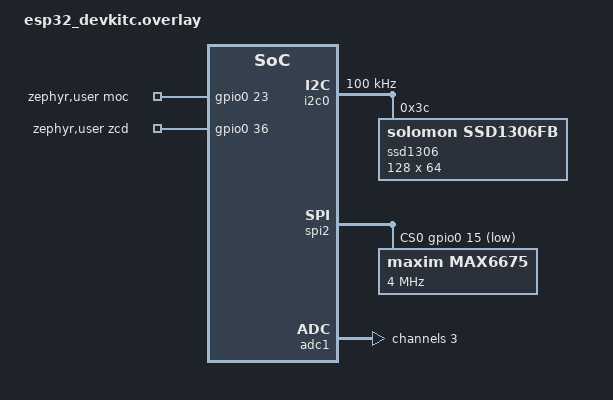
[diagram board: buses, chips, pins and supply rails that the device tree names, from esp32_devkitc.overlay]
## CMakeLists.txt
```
cmake_minimum_required(VERSION 3.20.0)

set(DTC_OVERLAY_FILE "${CMAKE_CURRENT_SOURCE_DIR}/esp32_devkitc.overlay")

find_package(Zephyr REQUIRED)
project(my_zephyr_app)

target_sources(app PRIVATE src/main.cpp)

zephyr_library_include_directories(${ZEPHYR_BASE}/subsys/display)
```

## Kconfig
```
source "Kconfig.zephyr"

menu "Thermal Reactor Configuration"

config THERMAL_ADC_CHANNEL
    int "ADC Channel for NTC"
    default 3
    help
      The ADC1 channel connected to the NTC thermistor.

config THERMAL_NTC_RESISTOR_FIXED
    string "Fixed resistor value in Ohms"
    default "9990.0"
    help
      The value of the fixed resistor in the voltage divider network.

config THERMAL_NTC_COEFF_A
    string "Steinhart-Hart Coefficient A"
    default "0.001129148"

config THERMAL_NTC_COEFF_B
    string "Steinhart-Hart Coefficient B"
    default "0.000234125"

config THERMAL_NTC_COEFF_C
    string "Steinhart-Hart Coefficient C"
    default "0.0000000876741"

endmenu
```

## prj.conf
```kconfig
CONFIG_ESP32_USE_UNSUPPORTED_REVISION=y

CONFIG_SYS_CLOCK_HW_CYCLES_PER_SEC=80000000

CONFIG_LOG=y
CONFIG_SERIAL=y
CONFIG_CONSOLE=y
CONFIG_UART_CONSOLE=y

CONFIG_ADC=y
CONFIG_ADC_ESP32=y
CONFIG_NEWLIB_LIBC=y
CONFIG_FPU=y

# Driver Ecran & Interfață text
CONFIG_I2C=y
CONFIG_DISPLAY=y
CONFIG_SSD1306=y
CONFIG_CHARACTER_FRAMEBUFFER=y
CONFIG_CFB_LOG_LEVEL_ERR=y

# Driver Senzor Termocuplă MAX6675
CONFIG_SPI=y
CONFIG_SENSOR=y
CONFIG_MAX6675=y

# Păstrăm numărul întreg așa cum este
CONFIG_THERMAL_ADC_CHANNEL=3

# Adăugăm ghilimele pentru valorile string interpretate ca float
CONFIG_THERMAL_NTC_RESISTOR_FIXED="9990.0"
CONFIG_THERMAL_NTC_COEFF_A="0.001129148"
CONFIG_THERMAL_NTC_COEFF_B="0.000234125"
CONFIG_THERMAL_NTC_COEFF_C="0.0000000876741"
```

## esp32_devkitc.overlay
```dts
#include <zephyr/dt-bindings/pinctrl/esp32-pinctrl.h>

/ {
    zephyr,user {
        moc-gpios = <&gpio0 23 GPIO_ACTIVE_HIGH>;
        zcd-gpios = <&gpio0 36 GPIO_ACTIVE_HIGH>;
    };
};

&pinctrl {
    /* Configurare pini pentru I2C0 */
    i2c0_default: i2c0_default {
        group1 {
            /* 30 = I2C0_SDA, 29 = I2C0_SCL */
            pinmux = <ESP32_PINMUX(21, 30, 30)>,
                     <ESP32_PINMUX(22, 29, 29)>;
            bias-pull-up;
            drive-open-drain;
            output-low;
        };
    };

    /* Configurare pini pentru SPI2 */
    spi2_default: spi2_default {
        group1 {
            /* 8 = HSPICLK (out), 9 = HSPIQ (in) -> 0x1FF înseamnă NOSIG */
            pinmux = <ESP32_PINMUX(14, 0x1FF, 8)>,
                     <ESP32_PINMUX(12, 9, 0x1FF)>;
            output-high;
        };
    };
};

&i2c0 {
    status = "okay";
    clock-frequency = <I2C_BITRATE_STANDARD>; /* Mergem la 100kHz pentru siguranță initială */
    pinctrl-0 = <&i2c0_default>;
    pinctrl-names = "default";

    ssd1306: ssd1306@3c {
        compatible = "solomon,ssd1306fb";
        reg = <0x3c>;
        width = <128>;
        height = <64>;
        segment-offset = <0>;
        page-offset = <0>;
        display-offset = <0>;
        multiplex-ratio = <63>;
        segment-remap;
        com-invdir;
        prechargep = <0x22>;
    };
};

&spi2 {
    status = "okay";
    pinctrl-0 = <&spi2_default>;
    pinctrl-names = "default";
    cs-gpios = <&gpio0 15 GPIO_ACTIVE_LOW>; /* CS_PIN 15 din Arduino */

    max6675: max6675@0 {
        compatible = "maxim,max6675";
        reg = <0>;
        spi-max-frequency = <4000000>;
    };
};

&adc1 {
    status = "okay";
    #address-cells = <1>;
    #size-cells = <0>;

    channel@3 {
        reg = <3>;
        zephyr,gain = "ADC_GAIN_1_4";
        zephyr,reference = "ADC_REF_INTERNAL";
        zephyr,acquisition-time = <ADC_ACQ_TIME_DEFAULT>;
        zephyr,resolution = <12>;
    };
};
```

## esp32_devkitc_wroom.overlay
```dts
&adc1 {
    status = "okay";
    #address-cells = <1>;
    #size-cells = <0>;

    /* Definim canalul 3 (care e legat intern la GPIO 39) */
    channel@3 {
        reg = <3>;
        zephyr,gain = "ADC_GAIN_1_4";
        zephyr,reference = "ADC_REF_INTERNAL";
        zephyr,acquisition-time = <ADC_ACQ_TIME_DEFAULT>;
        zephyr,resolution = <12>;
    };
};
```

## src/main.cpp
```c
#include <zephyr/kernel.h>
#include <zephyr/logging/log.h>
#include <zephyr/drivers/gpio.h>
#include <zephyr/drivers/adc.h>
#include <zephyr/drivers/sensor.h>       // Pentru MAX6675
#include <zephyr/display/cfb.h>          // Pentru Ecran text SSD1306
#include <math.h>
#include <stdio.h>                       // Pentru snprintf
#include <stdlib.h>                      // Pentru strtod

LOG_MODULE_REGISTER(main, LOG_LEVEL_INF);

/* Preluare periferice hardware direct din nodurile Overlay-ului */
static const struct gpio_dt_spec moc_gpio = GPIO_DT_SPEC_GET(DT_PATH(zephyr_user), moc_gpios);
static const struct device *adc_dev       = DEVICE_DT_GET(DT_NODELABEL(adc1));
static const struct device *max6675_dev   = DEVICE_DT_GET(DT_NODELABEL(max6675));
static const struct device *display_dev   = DEVICE_DT_GET(DT_NODELABEL(ssd1306));

static const struct adc_channel_cfg channel_cfg = {
    .gain             = ADC_GAIN_1_4,
    .reference        = ADC_REF_INTERNAL,
    .acquisition_time = ADC_ACQ_TIME_DEFAULT,
    .channel_id       = CONFIG_THERMAL_ADC_CHANNEL,
    .differential     = 0
};

// Citire NTC folosind constantele din Kconfig convertite explicit la double
double read_ntc_temp(void) {
    int16_t buf = 0;
    struct adc_sequence sequence = {
        .channels    = BIT(CONFIG_THERMAL_ADC_CHANNEL),
        .buffer      = &buf,
        .buffer_size = sizeof(buf),
        .resolution  = 12,
    };

    if (adc_read(adc_dev, &sequence) < 0) return -273.15;

    double adc_val = static_cast<double>(buf);
    if (adc_val < 10.0 || adc_val > 4085.0) return -50.0;

    // Conversie string text din Kconfig -> double numeric
    double ntc_r2 = strtod(CONFIG_THERMAL_NTC_RESISTOR_FIXED, NULL);
    double ntc_a  = strtod(CONFIG_THERMAL_NTC_COEFF_A, NULL);
    double ntc_b  = strtod(CONFIG_THERMAL_NTC_COEFF_B, NULL);
    double ntc_c  = strtod(CONFIG_THERMAL_NTC_COEFF_C, NULL);

    double Rth = ntc_r2 * (adc_val / (4095.0 - adc_val));
    double logRth = log(Rth);
    double temperature_k = 1.0 / (ntc_a + (ntc_b * logRth) + (ntc_c * pow(logRth, 3.0)));
    
    return temperature_k - 273.15;
}

int main(void)
{
    // 1. Verificare dispozitive hardware
    if (!gpio_is_ready_dt(&moc_gpio) || !device_is_ready(adc_dev) || 
        !device_is_ready(max6675_dev) || !device_is_ready(display_dev)) {
        LOG_ERR("Hardware initialization failed!");
        return -1;
    }

    // 2. Inițializare periferice
    gpio_pin_configure_dt(&moc_gpio, GPIO_OUTPUT_INACTIVE);
    adc_channel_setup(adc_dev, &channel_cfg);

    // 3. Inițializare Manager Ecran
    cfb_framebuffer_init(display_dev);
    cfb_framebuffer_clear(display_dev, true);
    
    // În Zephyr v4.2.0 API-ul folosește set_font
    cfb_framebuffer_set_font(display_dev, 0); 

    LOG_INF("All drivers initialized successfully!");

    while (1)
    {
        // --- CITIRE MAX6675 (Canal corect Zephyr v4: SENSOR_CHAN_AMBIENT_TEMP) ---
        struct sensor_value chamber_temp;
        sensor_sample_fetch(max6675_dev);
        sensor_channel_get(max6675_dev, SENSOR_CHAN_AMBIENT_TEMP, &chamber_temp);
        double t_chamber = sensor_value_to_double(&chamber_temp);

        // --- CITIRE NTC ---
        double t_ambient = read_ntc_temp();

        // --- AFIȘARE PE LOGS ---
        LOG_INF("Chamber: %.2f *C | Ambient: %.2f *C", t_chamber, t_ambient);

        // --- AFIȘARE PE OLED ---
        char buffer[32];
        cfb_framebuffer_clear(display_dev, false);
        
        snprintf(buffer, sizeof(buffer), "Chamber: %.1f C", t_chamber);
        cfb_print(display_dev, buffer, 0, 0);
        
        snprintf(buffer, sizeof(buffer), "Ambient: %.1f C", t_ambient);
        cfb_print(display_dev, buffer, 0, 16);
        
        cfb_framebuffer_finalize(display_dev);

        // Controlul de test pe osciloscop
        gpio_pin_toggle_dt(&moc_gpio);
        k_msleep(1000);
    }
    return 0;
}
```
